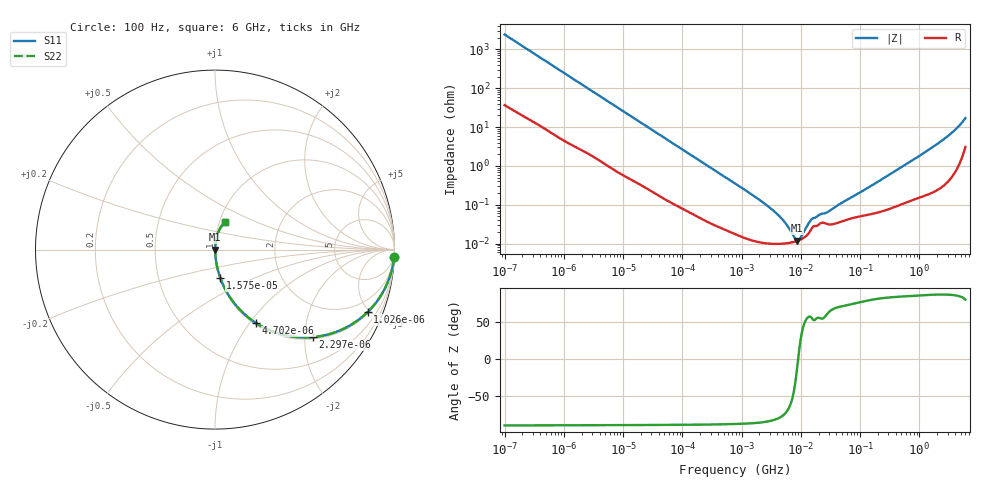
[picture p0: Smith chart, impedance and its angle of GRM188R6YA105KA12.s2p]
!Murata Part Number: GRM188R6YA105KA12
!These Parameters are Measured in Series Mode Connection
!Data Generated on Mar 30, 2021
!  o--ll--o
!Port1  Port2
!  o------o
!Operation Temp=25[degC], DC Bias Voltage=0[V]
!Freq. Start=100[Hz] Stop=6[GHz] 401[Steps]
# Hz S RI R 50
!Freq.(Hz) S11(Real) S11(Imag) S21(Real) S21(Imag) S12(Real) S12(Imag) S22(Real) S22(Imag)
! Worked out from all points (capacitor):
!   401 points, 100 Hz to 6 GHz, reference 50 ohm
!   read as one part in series: C = 653 nF near 109 Hz
!   lowest |Z| = 11.9 mohm at 8.692 MHz (marker M1)
!   series resonance near 9.009 MHz, so ESL is about 480 pH
!   S11 on the Smith chart (normalised r, x): 100 Hz: 2, -49; 1.026 kHz: 1.09, -4.85; 2.297 kHz: 1.05, -2.19; 4.702 kHz: 1.02, -1.08; 15.75 kHz: 1.01, -0.33; 6 GHz: 1.06, +0.34
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100  0.9977 -0.0411  0.00231 0.0411  0.00231 0.0411  0.9977 -0.0411
335  0.9796 -0.1331  0.0204 0.1331  0.0204 0.1331  0.9796 -0.1331
1026  0.8503 -0.3479  0.1497 0.3479  0.1497 0.3479  0.8503 -0.3479
2008  0.6072 -0.4783  0.3928 0.4783  0.3928 0.4783  0.6072 -0.4783
2297  0.5439 -0.4878  0.4561 0.4878  0.4561 0.4878  0.5439 -0.4878
4702  0.2307 -0.4106  0.7693 0.4106  0.7693 0.4106  0.2307 -0.4106
8047  0.0968 -0.285  0.9032 0.285  0.9032 0.285  0.0968 -0.285
15752  0.0297 -0.1583  0.9703 0.1583  0.9703 0.1583  0.0297 -0.1583
40335  0.00587 -0.0645  0.9941 0.0645  0.9941 0.0645  0.00587 -0.0645
774597  0.000188 -0.00354  0.9998 0.00354  0.9998 0.00354  0.000188 -0.00354
3712478  9.82e-05 -0.000629  0.9999 0.000629  0.9999 0.000629  9.82e-05 -0.000629
5311619  0.0001 -0.000347  0.9999 0.000347  0.9999 0.000347  0.0001 -0.000347
7947587  0.000112 -7.91e-05  0.9999 7.91e-05  0.9999 7.91e-05  0.000112 -7.91e-05
8692127  0.000117 -2.25e-05  0.9999 2.25e-05  0.9999 2.25e-05  0.000117 -2.25e-05
9941735  0.000127 6.3e-05  0.9999 -6.3e-05  0.9999 -6.3e-05  0.000127 6.3e-05
1.360128e7  0.000183 0.000278  0.9998 -0.000278  0.9998 -0.000278  0.000183 0.000278
1.555665e7  0.000256 0.000353  0.9997 -0.000353  0.9997 -0.000353  0.000256 0.000353
2.911731e7  0.000311 0.000586  0.9997 -0.000586  0.9997 -0.000586  0.000311 0.000586
3.124326e8  0.000812 0.0059  0.9992 -0.0059  0.9992 -0.0059  0.000812 0.0059
2.34314e9  0.00462 0.0431  0.9954 -0.0431  0.9954 -0.0431  0.00462 0.0431
3.8344e9  0.0122 0.0777  0.9878 -0.0777  0.9878 -0.0777  0.0122 0.0777
6e9  0.0554 0.1548  0.9446 -0.1548  0.9446 -0.1548  0.0554 0.1548
